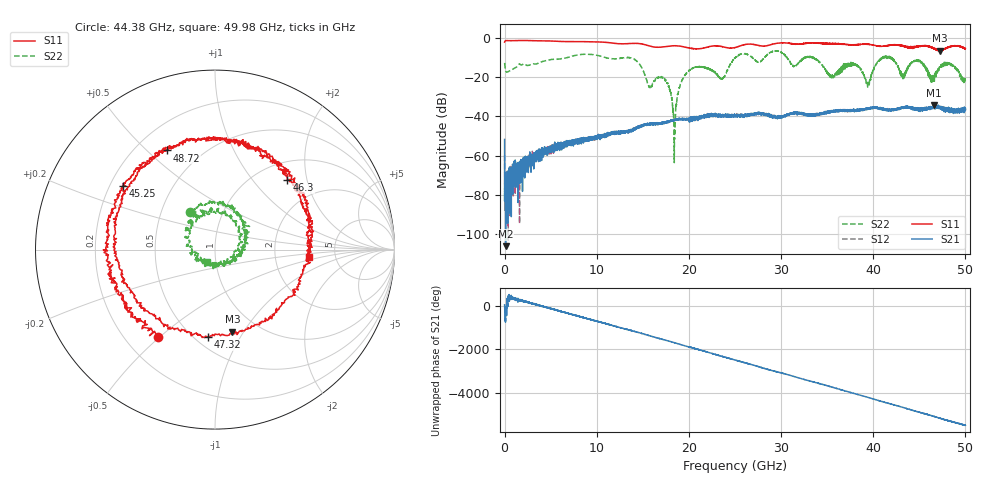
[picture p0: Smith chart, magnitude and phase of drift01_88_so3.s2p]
!Created with skrf (http://scikit-rf.org).
# Hz S RI R 50.0
!freq ReS11 ImS11 ReS21 ImS21 ReS12 ImS12 ReS22 ImS22
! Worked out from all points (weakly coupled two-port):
!   10001 points, 300 kHz to 50 GHz, reference 50 ohm
!   highest |S21| = -34.38 dB at 46.55 GHz (marker M1); lowest = -106.2 dB at 105.3 MHz (marker M2)
!   lowest |S11| = -6.6 dB at 47.21 GHz (marker M3), VSWR 2.75, Z = 38.2 - j44.6 ohm
!   |S11| at or under -10 dB: nowhere
!   |S22| runs from -63.6 to -6.6 dB; largest |S21 - S12| = 0.0038
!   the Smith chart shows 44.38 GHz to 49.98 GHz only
!   S11 on the Smith chart (normalised r, x): 44.38 GHz: 0.34, -0.50; 45.25 GHz: 0.25, +0.29; 46.3 GHz: 1.36, +1.53; 47.32 GHz: 0.58, -0.74; 48.72 GHz: 0.33, +0.58; 49.98 GHz: 3.17, -0.34
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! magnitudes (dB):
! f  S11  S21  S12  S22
! 300 kHz  -2.1  -51.8  -59.9  -12.8
! 105.3 MHz  -1.5  -106.2  -74.9  -16.8
! 8.335 GHz  -1.9  -52.5  -52.7  -8.5
! 16.67 GHz  -4.8  -43.5  -43.9  -20.0
! 17.74 GHz  -4.3  -42.7  -43.0  -24.2
! 18.44 GHz  -4.1  -42.2  -41.7  -50.8
! 19.93 GHz  -5.1  -41.7  -41.5  -17.1
! 23.6 GHz  -4.5  -39.5  -39.4  -20.6
! 25 GHz  -5.0  -39.2  -39.6  -10.4
! 33.34 GHz  -2.6  -39.5  -39.3  -9.9
! 39.44 GHz  -3.4  -35.9  -36.0  -24.2
! 41.67 GHz  -3.9  -36.8  -36.9  -10.0
! 43.19 GHz  -4.2  -35.3  -35.5  -19.0
! 44.38 GHz  -4.7  -36.1  -36.2  -11.9
! 45.25 GHz  -4.1  -35.6  -36.2  -12.5
! 46.3 GHz  -5.1  -36.3  -35.7  -22.3
! 46.55 GHz  -5.3  -34.4  -35.4  -20.1
! 47.21 GHz  -6.6  -35.0  -35.0  -14.9
! 47.32 GHz  -6.2  -35.5  -35.3  -14.8
! 48.72 GHz  -4.3  -36.8  -37.0  -14.5
! 49.98 GHz  -5.6  -36.5  -36.2  -21.7
! 50 GHz  -5.5  -36.4  -35.8  -21.9
